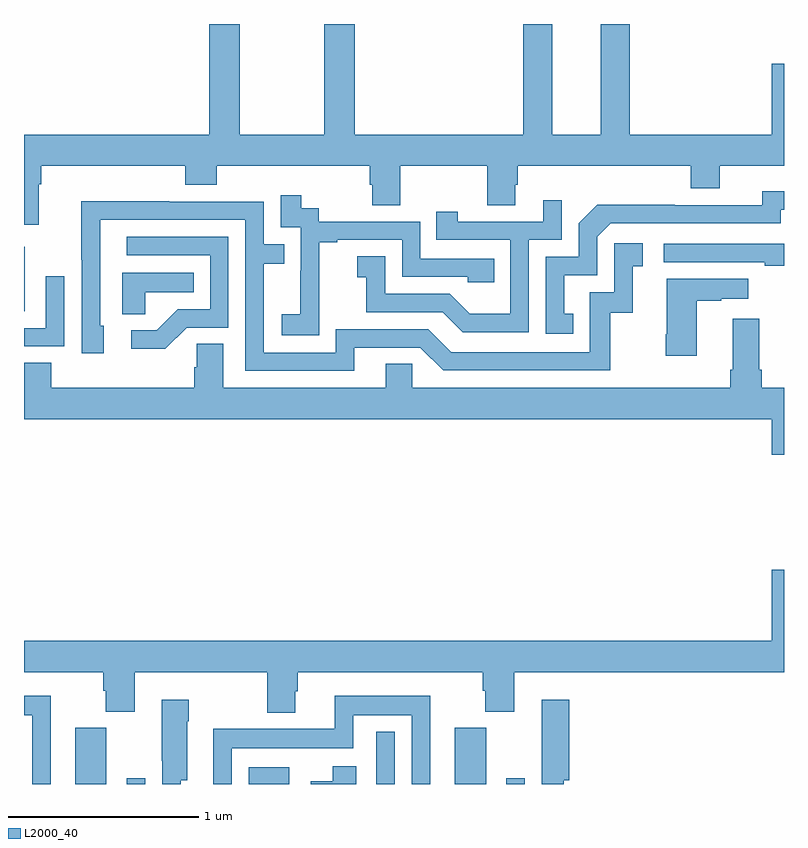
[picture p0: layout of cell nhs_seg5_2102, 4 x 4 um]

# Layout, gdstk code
import gdstk
lib = gdstk.Library(unit=1e-6, precision=1e-09)
def R(c, l, rs):  # rectangles x0, y0, x1, y1
    for r in rs: c.add(gdstk.rectangle(r[:2], r[2:], *l))
def P(c, l, *ps):  # polygons
    for p in ps: c.add(gdstk.Polygon(p, *l))
L2000_40 = (2000, 40)

nhs_seg5_2102 = lib.new_cell('nhs_seg5_2102')
R(nhs_seg5_2102, L2000_40, [(233.27,894.799,233.434,895.095), (233.541,894.799,233.637,894.829), (234.182,894.799,234.397,894.886), (234.855,894.799,234.951,895.075), (235.268,894.799,235.432,895.095), (235.539,894.799,235.635,894.829), (233,897.287,233.005,897.627)])
P(nhs_seg5_2102, L2000_40, [(234.821,897.954),(234.833,897.954),(234.833,897.844),(234.981,897.844),(234.981,898.052),(235.438,898.052),(235.438,897.844),(235.585,897.844),(235.585,897.954),(235.598,897.954),(235.598,898.052),(236.51,898.052),(236.51,897.935),(236.662,897.935),(236.662,898.052),(237,898.052),(237,898.591),(236.936,898.591),(236.936,898.216),(236.189,898.216),(236.189,898.799),(236.036,898.799),(236.036,898.216),(235.78,898.216),(235.78,898.799),(235.628,898.799),(235.628,898.216),(234.74,898.216),(234.74,898.799),(234.58,898.799),(234.58,898.216),(234.135,898.216),(234.135,898.799),(233.975,898.799),(233.975,898.216),(233,898.216),(233,897.743),(233.077,897.743),(233.077,897.956),(233.09,897.956),(233.09,898.052),(233.849,898.052),(233.849,897.953),(234.014,897.953),(234.014,898.052),(234.821,898.052)],
  [(235.892,897.273),(235.843,897.273),(235.843,897.477),(236.016,897.477),(236.016,897.678),(236.088,897.75),(236.982,897.75),(236.982,897.822),(237,897.822),(237,897.919),(236.886,897.919),(236.886,897.846),(236.426,897.846),(236.426,897.848),(236.018,897.848),(235.92,897.75),(235.92,897.573),(235.746,897.573),(235.746,897.168),(235.892,897.168)],
  [(234.555,897.367),(234.554,897.367),(234.554,897.651),(234.649,897.651),(234.649,897.663),(234.99,897.663),(234.99,897.468),(235.335,897.468),(235.335,897.441),(235.475,897.441),(235.475,897.564),(235.086,897.564),(235.086,897.759),(234.552,897.759),(234.552,897.828),(234.46,897.828),(234.46,897.898),(234.351,897.898),(234.351,897.729),(234.456,897.729),(234.456,897.5),(234.455,897.5),(234.455,897.271),(234.357,897.271),(234.357,897.161),(234.555,897.161)],
  [(235.656,897.663),(235.83,897.663),(235.83,897.871),(235.733,897.871),(235.733,897.759),(235.282,897.759),(235.282,897.811),(235.171,897.811),(235.171,897.663),(235.56,897.663),(235.56,897.274),(235.346,897.274),(235.242,897.378),(234.9,897.378),(234.9,897.577),(234.753,897.577),(234.753,897.467),(234.802,897.467),(234.802,897.282),(235.205,897.282),(235.31,897.177),(235.656,897.177)],
  [(234.739,897.096),(235.086,897.096),(235.206,896.976),(236.086,896.976),(236.086,897.279),(236.204,897.279),(236.204,897.525),(236.257,897.525),(236.257,897.646),(236.106,897.646),(236.106,897.387),(235.977,897.387),(235.977,897.072),(235.248,897.072),(235.128,897.192),(234.642,897.192),(234.642,897.069),(234.261,897.069),(234.261,897.538),(234.371,897.538),(234.371,897.639),(234.261,897.639),(234.261,897.864),(233.765,897.864),(233.765,897.866),(233.302,897.866),(233.302,897.559),(233.304,897.559),(233.304,897.066),(233.419,897.066),(233.419,897.21),(233.4,897.21),(233.4,897.768),(234.165,897.768),(234.165,896.973),(234.739,896.973)],
  [(233.856,897.201),(234.075,897.201),(234.075,897.678),(233.541,897.678),(233.541,897.582),(233.979,897.582),(233.979,897.297),(233.81,897.297),(233.699,897.186),(233.565,897.186),(233.565,897.089),(233.743,897.089)],
  [(237,897.642),(236.367,897.642),(236.367,897.546),(236.899,897.546),(236.899,897.526),(237,897.526)],
  [(233.637,897.386),(233.894,897.386),(233.894,897.49),(233.516,897.49),(233.516,897.271),(233.637,897.271)],
  [(233.211,897.472),(233.115,897.472),(233.115,897.198),(233,897.198),(233,897.102),(233.211,897.102)],
  [(236.542,897.343),(236.669,897.343),(236.669,897.353),(236.812,897.353),(236.812,897.457),(236.384,897.457),(236.384,897.166),(236.377,897.166),(236.377,897.054),(236.542,897.054)],
  [(237,896.884),(236.882,896.884),(236.882,896.98),(236.869,896.98),(236.869,897.247),(236.729,897.247),(236.729,896.98),(236.717,896.98),(236.717,896.884),(235.044,896.884),(235.044,897.011),(234.905,897.011),(234.905,896.884),(234.049,896.884),(234.049,897.116),(233.91,897.116),(233.91,896.993),(233.897,896.993),(233.897,896.884),(233.144,896.884),(233.144,897.017),(233,897.017),(233,896.72),(236.936,896.72),(236.936,896.532),(237,896.532)],
  [(234.427,895.287),(234.44,895.287),(234.44,895.388),(235.415,895.388),(235.415,895.289),(235.427,895.289),(235.427,895.18),(235.58,895.18),(235.58,895.388),(237,895.388),(237,895.927),(236.936,895.927),(236.936,895.552),(233,895.552),(233,895.388),(233.417,895.388),(233.417,895.289),(233.429,895.289),(233.429,895.18),(233.582,895.18),(233.582,895.388),(234.28,895.388),(234.28,895.175),(234.427,895.175)],
  [(233.14,895.264),(233,895.264),(233,895.16),(233.043,895.16),(233.043,894.799),(233.14,894.799)],
  [(234.093,894.986),(234.732,894.986),(234.732,895.16),(235.041,895.16),(235.041,894.799),(235.138,894.799),(235.138,895.264),(234.635,895.264),(234.635,895.09),(233.996,895.09),(233.996,894.799),(234.093,894.799)],
  [(235.841,894.818),(235.871,894.818),(235.871,895.243),(235.724,895.243),(235.724,894.922),(235.725,894.922),(235.725,894.799),(235.841,894.799)],
  [(233.824,894.818),(233.86,894.818),(233.86,895.13),(233.868,895.13),(233.868,895.243),(233.726,895.243),(233.726,894.922),(233.727,894.922),(233.727,894.799),(233.824,894.799)],
  [(234.748,894.892),(234.626,894.892),(234.626,894.814),(234.509,894.814),(234.509,894.799),(234.748,894.799)])

lib.write_gds('nhs_seg5_2102.gds')
